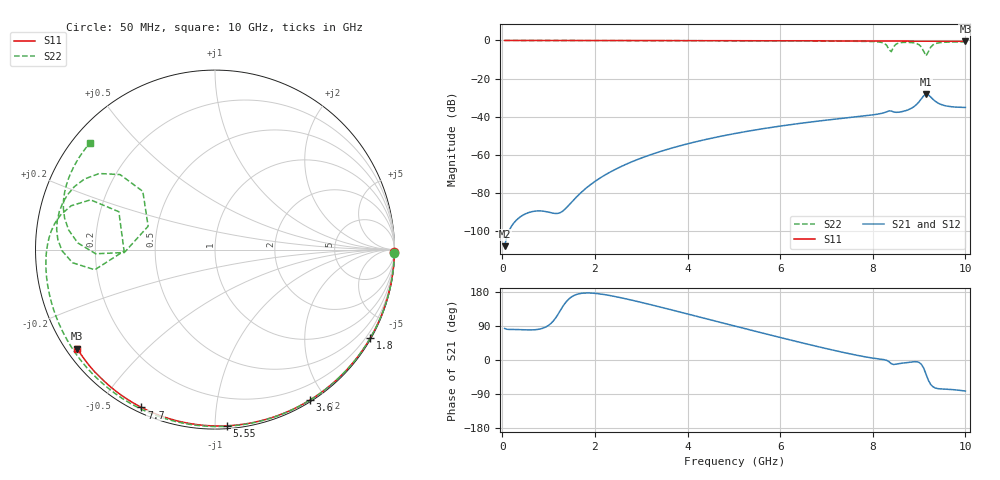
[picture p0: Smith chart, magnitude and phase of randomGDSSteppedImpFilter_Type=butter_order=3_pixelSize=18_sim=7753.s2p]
! freq	dB(S11)	phase(S11)	dB(S12)	phase(S12)
!  dB(S21)	phase(S21)	dB(S22)	phase(S22)
!S-par simulation data
#  GHz  S  DB  R 50
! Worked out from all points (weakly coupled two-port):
!   200 points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, 50 MHz to 10 GHz, reference 50 ohm
!   highest |S21| = -28.21 dB at 9.15 GHz (marker M1); lowest = -108.1 dB at 50 MHz (marker M2)
!   lowest |S11| = -0.5 dB at 10 GHz (marker M3), VSWR 35.73, Z = 1.55 - j16.1 ohm
!   |S11| at or under -10 dB: nowhere
!   |S22| runs from -8.1 to 0.0 dB; largest |S21 - S12| = 0
!   S11 on the Smith chart (normalised r, x): 50 MHz: open; 1.8 GHz: 0.03, -3.77; 3.6 GHz: 0.02, -1.81; 5.55 GHz: 0.02, -1.07; 7.7 GHz: 0.02, -0.64; 10 GHz: 0.03, -0.32
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0.05  -0.00 -0.8  -108.13 83.3  -108.13 83.3  -0.00 -1.2
1.75  -0.04 -28.9  -78.87 176.5  -78.87 176.5  -0.05 -40.5
1.8  -0.04 -29.7  -77.83 176.8  -77.83 176.8  -0.05 -41.6
2.45  -0.05 -40.1  -67.65 167.1  -67.65 167.1  -0.07 -56.1
3.4  -0.07 -54.9  -58.47 140.1  -58.47 140.1  -0.10 -76.8
3.6  -0.08 -57.9  -56.99 134.0  -56.99 134.0  -0.11 -81.1
5.05  -0.12 -79.2  -48.80 88.7  -48.80 88.7  -0.17 -111.5
5.55  -0.14 -86.2  -46.69 73.2  -46.69 73.2  -0.20 -121.9
6.7  -0.20 -101.9  -42.75 38.6  -42.75 38.6  -0.30 -146.7
7.7  -0.26 -115.0  -39.98 11.5  -39.98 11.5  -0.45 -171.7
8.15  -0.30 -120.8  -38.54 2.5  -38.54 2.5  -0.87 170.7
8.35  -0.32 -123.3  -37.05 -4.5  -37.05 -4.5  -4.80 158.5
8.4  -0.32 -124.0  -37.09 -9.8  -37.09 -9.8  -5.91 -179.1
8.45  -0.33 -124.6  -37.56 -11.8  -37.56 -11.8  -3.36 -170.5
8.55  -0.34 -125.9  -37.74 -9.9  -37.74 -9.9  -1.39 -179.6
8.7  -0.35 -127.8  -36.98 -7.4  -36.98 -7.4  -0.98 169.4
9  -0.38 -131.6  -32.22 -6.4  -32.22 -6.4  -2.25 146.7
9.1  -0.39 -132.8  -29.07 -21.5  -29.07 -21.5  -5.74 141.1
9.15  -0.39 -133.4  -28.21 -37.2  -28.21 -37.2  -8.08 160.7
9.25  -0.40 -134.7  -29.71 -64.4  -29.71 -64.4  -3.54 -178.0
9.4  -0.41 -136.6  -32.78 -75.4  -32.78 -75.4  -1.35 168.3
10  -0.49 -144.2  -35.20 -82.0  -35.20 -82.0  -0.76 139.7
